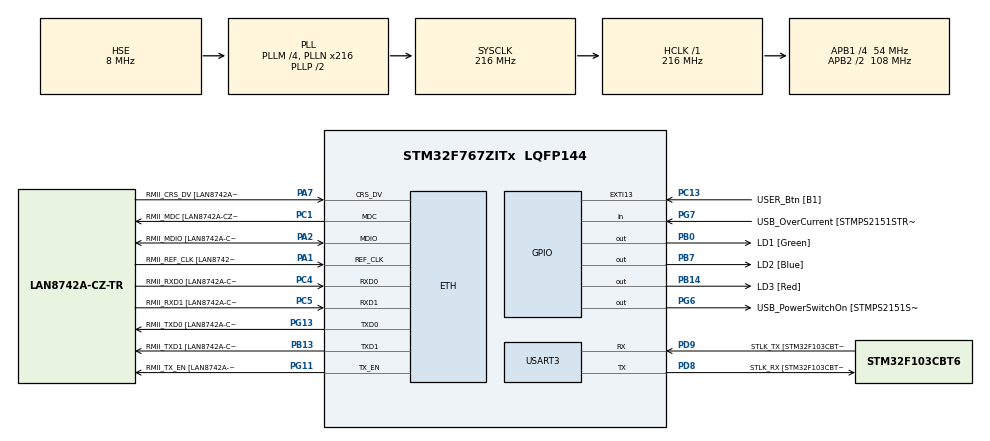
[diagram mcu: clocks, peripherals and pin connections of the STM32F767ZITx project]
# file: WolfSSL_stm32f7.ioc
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Mcu.Family=STM32F7
RCC.CortexFreq_Value=216000000
PG6.Signal=GPIO_Output
PB14.GPIO_Label=LD3 [Red]
PG6.GPIO_Label=USB_PowerSwitchOn [STMPS2151STR_EN]
PA14.GPIO_Label=TCK
RCC.SYSCLKSourceVirtual=RCC_SYSCLKSOURCE_PLLCLK
PB0.GPIO_Label=LD1 [Green]
PC14/OSC32_IN.Mode=LSE-External-Oscillator
PC5.Mode=RMII
PC13.GPIO_Label=USER_Btn [B1]
PB13.GPIO_Label=RMII_TXD1 [LAN8742A-CZ-TR_TXD1]
PB13.Signal=ETH_TXD1
PG13.Signal=ETH_TXD0
PD9.Mode=Asynchronous
PG11.Signal=ETH_TX_EN
RCC.SYSCLKSource=RCC_SYSCLKSOURCE_PLLCLK
ProjectManager.StackSize=0x1000
LWIP.NETMASK_ADDRESS=255.255.000.000
LWIP.LWIP_HTTPD=1
USART3.VirtualMode-Asynchronous=VM_ASYNC
PA12.Signal=USB_OTG_FS_DP
ETH.PHY_Value=0
PH0/OSC_IN.Mode=HSE-External-Oscillator
RCC.HCLKFreq_Value=216000000
RCC.APB2TimFreq_Value=216000000
PH1/OSC_OUT.Signal=RCC_OSC_OUT
PD8.Signal=USART3_TX
RCC.AHBFreq_Value=216000000
NVIC.ETH_IRQn=true\:5\:0\:false\:false\:true\:true\:false\:true
RCC.HSE_VALUE=8000000
wolfSSL.I-CUBE-wolfSSL.4.7.0.WOLF_CONF_RTOS=2
RCC.PLLMUL=RCC_PLL_MUL9
PC4.GPIO_Label=RMII_RXD0 [LAN8742A-CZ-TR_RXD0]
PA14.Mode=Serial_Wire
NVIC.TIM2_IRQn=true\:0\:0\:false\:false\:true\:false\:false\:true
PA10.GPIO_Label=USB_ID
wolfSSL.I-CUBE-wolfSSL.4.7.0.wolfSSLCcwolfSSLJjwolfCryptJjCore=true
PB7.Signal=GPIO_Output
PA8.Signal=USB_OTG_FS_SOF
PG13.Mode=RMII
ETH.PHY_Name=LAN8742A_PHY_ADDRESS
VP_FREERTOS_VS_CMSIS_V1.Mode=CMSIS_V1
PH1/OSC_OUT.Mode=HSE-External-Oscillator
PB7.GPIO_Label=LD2 [Blue]
VP_SYS_VS_tim2.Mode=TIM2
Mcu.Package=LQFP144
NVIC.TimeBase=TIM2_IRQn
PC14/OSC32_IN.Signal=RCC_OSC32_IN
PA2.GPIO_Label=RMII_MDIO [LAN8742A-CZ-TR_MDIO]
NVIC.TimeBaseIP=TIM2
PA10.Signal=USB_OTG_FS_ID
RCC.APB2CLKDivider=RCC_HCLK_DIV2
RCC.APB1TimFreq_Value=108000000
PG11.GPIO_Label=RMII_TX_EN [LAN8742A-CZ-TR_TXEN]
PC5.Signal=ETH_RXD1
PB13.Mode=RMII
VP_TIM3_VS_ClockSourceINT.Mode=Internal
PC4.Mode=RMII
LWIP.IP_ADDRESS=169.254.215.173
PB3.GPIO_Label=SWO
RCC.PLLSourceVirtual=RCC_PLLSOURCE_HSE
CORTEX_M7.CPU_ICache=Enabled
FREERTOS.Tasks01=defaultTask,0,128,StartDefaultTask,Default,NULL,Dynamic,NULL,NULL
PA7.Mode=RMII
PG7.Signal=GPIO_Input
PD9.GPIO_Label=STLK_TX [STM32F103CBT6_PA2]
wolfSSL.I-CUBE-wolfSSL.4.7.0.wolfSSLCcwolfSSLJjwolfSSLJjCore=true
wolfSSL.I-CUBE-wolfSSL.4.7.0.WOLF_CONF_MATH=4
PC13.Signal=GPXTI13
PA9.GPIO_Label=USB_VBUS
PC4.Signal=ETH_RXD0
ETH.MACAddr=00\:80\:E1\:00\:00\:32
PA11.GPIO_Label=USB_DM
PD9.Signal=USART3_RX
LWIP.LWIP_DHCP=0
VP_RNG_VS_RNG.Mode=RNG_Activate
RCC.APB1CLKDivider=RCC_HCLK_DIV4
PG13.GPIO_Label=RMII_TXD0 [LAN8742A-CZ-TR_TXD0]
ETH.PhyAddress=0
PA12.GPIO_Label=USB_DP
VP_LWIP_VS_Enabled.Mode=Enabled
PD8.GPIO_Label=STLK_RX [STM32F103CBT6_PA3]
PA13.Signal=SYS_JTMS-SWDIO
CORTEX_M7.MPU_Control=MPU_HFNMI_PRIVDEF
PA8.GPIO_Label=USB_SOF [TP1]
ProjectManager.TargetToolchain=TrueSTUDIO
PA9.Signal=USB_OTG_FS_VBUS
RCC.USBFreq_Value=48000000
PD8.Mode=Asynchronous
PA1.Signal=ETH_REF_CLK
PB14.Signal=GPIO_Output
board=NUCLEO-F767ZI
RCC.VCOOutputFreq_Value=432000000
NVIC.TIM3_IRQn=true\:5\:0\:false\:false\:true\:true\:true\:true
wolfSSL.I-CUBE-wolfSSL.4.7.0.wolfSSLCcwolfSSLJjwolfCryptJjTest=true
PH0/OSC_IN.Signal=RCC_OSC_IN
RCC.APB2Freq_Value=108000000
PA1.Mode=RMII
RCC.PRESCALERUSB=RCC_USBCLKSOURCE_PLL_DIV1_5
PG7.GPIO_Label=USB_OverCurrent [STMPS2151STR_FAULT]
PA1.GPIO_Label=RMII_REF_CLK [LAN8742A-CZ-TR_REFCLK0]
PC1.GPIO_Label=RMII_MDC [LAN8742A-CZ-TR_MDC]
PA13.Mode=Serial_Wire
Mcu.Name=STM32F767ZITx
PA2.Signal=ETH_MDIO
PA13.GPIO_Label=TMS
RCC.48MHZClocksFreq_Value=24000000
PB3.Signal=SYS_JTDO-SWO
RCC.SYSCLKFreq_VALUE=216000000
ETH.MediaInterface=ETH_MEDIA_INTERFACE_RMII
PA7.GPIO_Label=RMII_CRS_DV [LAN8742A-CZ-TR_CRS_DV]
PC5.GPIO_Label=RMII_RXD1 [LAN8742A-CZ-TR_RXD1]
PC15/OSC32_OUT.Mode=LSE-External-Oscillator
PG11.Mode=RMII
PA11.Signal=USB_OTG_FS_DM
PA14.Signal=SYS_JTCK-SWCLK
ProjectManager.HeapSize=0x800
LWIP.Version=v2.1.2_Cube
RCC.HSI_VALUE=16000000
PH0/OSC_IN.GPIO_Label=MCO [STM32F103CBT6_PA8]
RCC.PLLQ=9
NVIC.PriorityGroup=NVIC_PRIORITYGROUP_4
RCC.PLLM=4
RCC.PLLN=216
PA2.Mode=RMII
PC15/OSC32_OUT.Signal=RCC_OSC32_OUT
CORTEX_M7.CPU_DCache=Enabled
RCC.APB1Freq_Value=54000000
PB0.Signal=GPIO_Output
PC1.Signal=ETH_MDC
PC1.Mode=RMII
PA7.Signal=ETH_CRS_DV
VP_wolfSSL.I-CUBE-wolfSSL_VS_wolfSSLJjwolfSSL_4.7.0.Mode=wolfSSLJjwolfSSL

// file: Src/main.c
gg/* USER CODE BEGIN Header */
/**
  ******************************************************************************
  * @file           : main.c
  * @brief          : Main program body
  ******************************************************************************
  * @attention
  *
  * <h2><center>&copy; Copyright (c) 2021 STMicroelectronics.
  * All rights reserved.</center></h2>
  *
  * This software component is licensed by ST under Ultimate Liberty license
  * SLA0044, the "License"; You may not use this file except in compliance with
  * the License. You may obtain a copy of the License at:
  *                             www.st.com/SLA0044
  *
  ******************************************************************************
  */
/* USER CODE END Header */

#include "main.h"
#include "cmsis_os.h"
#include "lwip.h"

/* USER CODE BEGIN Includes */
#include "httpd.h"
#include "wolfmqtt/mqtt_client.h"

#include "examples/aws/awsiot.h"
/* USER CODE END Includes */

RNG_HandleTypeDef hrng;

TIM_HandleTypeDef htim3;

UART_HandleTypeDef huart3;

osThreadId defaultTaskHandle;

void SystemClock_Config(void);
static void MPU_Config(void);
static void MX_GPIO_Init(void);
static void MX_RNG_Init(void);
static void MX_USART3_UART_Init(void);
static void MX_TIM3_Init(void);
void StartDefaultTask(void const * argument);

/* USER CODE BEGIN PFP */
/* Retargets the C library printf function to the USART. */
#include <stdio.h>
#ifdef __GNUC__
int __io_putchar(int ch)
#else
int fputc(int ch, FILE *f)
#endif
{
    HAL_UART_Transmit(&huart3, (uint8_t *)&ch, 1, 0xFFFF);

    return ch;
}
#ifdef __GNUC__
int _write(int file,char *ptr, int len)
{
    int DataIdx;
    for (DataIdx= 0; DataIdx< len; DataIdx++) {
        __io_putchar(*ptr++);
    }
    return len;
}
#endif
/* USER CODE END PFP */

int main(void)
{

  /* MPU Configuration--------------------------------------------------------*/
  MPU_Config();

  /* Enable I-Cache---------------------------------------------------------*/
  SCB_EnableICache();

  /* Enable D-Cache---------------------------------------------------------*/
  SCB_EnableDCache();

  /* MCU Configuration--------------------------------------------------------*/

  /* Reset of all peripherals, Initializes the Flash interface and the Systick. */
  HAL_Init();

  /* Configure the system clock */
  SystemClock_Config();

  /* USER CODE BEGIN SysInit */
  setvbuf(stdin, NULL, _IONBF, 0);
   setvbuf(stdout, NULL, _IONBF, 0);
   setvbuf(stderr, NULL, _IONBF, 0);

  /* USER CODE END SysInit */

  /* Initialize all configured peripherals */
  MX_GPIO_Init();
  MX_RNG_Init();
  MX_USART3_UART_Init();
  MX_TIM3_Init();

  /* Create the thread(s) */
  /* definition and creation of defaultTask */
  osThreadDef(defaultTask, StartDefaultTask, osPriorityNormal, 0, 1024 * 5);
  defaultTaskHandle = osThreadCreate(osThread(defaultTask), NULL);

  /* Start scheduler */
  osKernelStart();

  /* We should never get here as control is now taken by the scheduler */
  /* Infinite loop */
  while (1)
  {

  }
}

void SystemClock_Config(void)
{
  RCC_OscInitTypeDef RCC_OscInitStruct = {0};
  RCC_ClkInitTypeDef RCC_ClkInitStruct = {0};
  RCC_PeriphCLKInitTypeDef PeriphClkInitStruct = {0};

  /** Configure LSE Drive Capability
  */
  HAL_PWR_EnableBkUpAccess();
  /** Configure the main internal regulator output voltage
  */
  __HAL_RCC_PWR_CLK_ENABLE();
  __HAL_PWR_VOLTAGESCALING_CONFIG(PWR_REGULATOR_VOLTAGE_SCALE1);
  /** Initializes the CPU, AHB and APB busses clocks
  */
  RCC_OscInitStruct.OscillatorType = RCC_OSCILLATORTYPE_HSE;
  RCC_OscInitStruct.HSEState = RCC_HSE_ON;
  RCC_OscInitStruct.PLL.PLLState = RCC_PLL_ON;
  RCC_OscInitStruct.PLL.PLLSource = RCC_PLLSOURCE_HSE;
  RCC_OscInitStruct.PLL.PLLM = 4;
  RCC_OscInitStruct.PLL.PLLN = 216;
  RCC_OscInitStruct.PLL.PLLP = RCC_PLLP_DIV2;
  RCC_OscInitStruct.PLL.PLLQ = 9;
  if (HAL_RCC_OscConfig(&RCC_OscInitStruct) != HAL_OK)
  {
    Error_Handler();
  }
  /** Activate the Over-Drive mode
  */
  if (HAL_PWREx_EnableOverDrive() != HAL_OK)
  {
    Error_Handler();
  }
  /** Initializes the CPU, AHB and APB busses clocks
  */
  RCC_ClkInitStruct.ClockType = RCC_CLOCKTYPE_HCLK|RCC_CLOCKTYPE_SYSCLK
                              |RCC_CLOCKTYPE_PCLK1|RCC_CLOCKTYPE_PCLK2;
  RCC_ClkInitStruct.SYSCLKSource = RCC_SYSCLKSOURCE_PLLCLK;
  RCC_ClkInitStruct.AHBCLKDivider = RCC_SYSCLK_DIV1;
  RCC_ClkInitStruct.APB1CLKDivider = RCC_HCLK_DIV4;
  RCC_ClkInitStruct.APB2CLKDivider = RCC_HCLK_DIV2;

  if (HAL_RCC_ClockConfig(&RCC_ClkInitStruct, FLASH_LATENCY_7) != HAL_OK)
  {
    Error_Handler();
  }
  PeriphClkInitStruct.PeriphClockSelection = RCC_PERIPHCLK_USART3|RCC_PERIPHCLK_CLK48;
  PeriphClkInitStruct.Usart3ClockSelection = RCC_USART3CLKSOURCE_PCLK1;
  PeriphClkInitStruct.Clk48ClockSelection = RCC_CLK48SOURCE_PLL;
  if (HAL_RCCEx_PeriphCLKConfig(&PeriphClkInitStruct) != HAL_OK)
  {
    Error_Handler();
  }
}

static void MX_RNG_Init(void)
{

  hrng.Instance = RNG;
  if (HAL_RNG_Init(&hrng) != HAL_OK)
  {
    Error_Handler();
  }

}

static void MX_TIM3_Init(void)
{

  TIM_ClockConfigTypeDef sClockSourceConfig = {0};
  TIM_MasterConfigTypeDef sMasterConfig = {0};

  htim3.Instance = TIM3;
  htim3.Init.Prescaler = 0;
  htim3.Init.CounterMode = TIM_COUNTERMODE_UP;
  htim3.Init.Period = 0;
  htim3.Init.ClockDivision = TIM_CLOCKDIVISION_DIV1;
  htim3.Init.AutoReloadPreload = TIM_AUTORELOAD_PRELOAD_DISABLE;
  if (HAL_TIM_Base_Init(&htim3) != HAL_OK)
  {
    Error_Handler();
  }
  sClockSourceConfig.ClockSource = TIM_CLOCKSOURCE_INTERNAL;
  if (HAL_TIM_ConfigClockSource(&htim3, &sClockSourceConfig) != HAL_OK)
  {
    Error_Handler();
  }
  sMasterConfig.MasterOutputTrigger = TIM_TRGO_RESET;
  sMasterConfig.MasterSlaveMode = TIM_MASTERSLAVEMODE_DISABLE;
  if (HAL_TIMEx_MasterConfigSynchronization(&htim3, &sMasterConfig) != HAL_OK)
  {
    Error_Handler();
  }

}

static void MX_USART3_UART_Init(void)
{

  huart3.Instance = USART3;
  huart3.Init.BaudRate = 115200;
  huart3.Init.WordLength = UART_WORDLENGTH_8B;
  huart3.Init.StopBits = UART_STOPBITS_1;
  huart3.Init.Parity = UART_PARITY_NONE;
  huart3.Init.Mode = UART_MODE_TX_RX;
  huart3.Init.HwFlowCtl = UART_HWCONTROL_NONE;
  huart3.Init.OverSampling = UART_OVERSAMPLING_16;
  huart3.Init.OneBitSampling = UART_ONE_BIT_SAMPLE_DISABLE;
  huart3.AdvancedInit.AdvFeatureInit = UART_ADVFEATURE_NO_INIT;
  if (HAL_UART_Init(&huart3) != HAL_OK)
  {
    Error_Handler();
  }

}

static void MX_GPIO_Init(void)
{
  GPIO_InitTypeDef GPIO_InitStruct = {0};

  /* GPIO Ports Clock Enable */
  __HAL_RCC_GPIOC_CLK_ENABLE();
  __HAL_RCC_GPIOH_CLK_ENABLE();
  __HAL_RCC_GPIOA_CLK_ENABLE();
  __HAL_RCC_GPIOB_CLK_ENABLE();
  __HAL_RCC_GPIOD_CLK_ENABLE();
  __HAL_RCC_GPIOG_CLK_ENABLE();

  /*Configure GPIO pin Output Level */
  HAL_GPIO_WritePin(GPIOB, LD1_Pin|LD3_Pin|LD2_Pin, GPIO_PIN_RESET);

  /*Configure GPIO pin Output Level */
  HAL_GPIO_WritePin(USB_PowerSwitchOn_GPIO_Port, USB_PowerSwitchOn_Pin, GPIO_PIN_RESET);

  /*Configure GPIO pin : USER_Btn_Pin */
  GPIO_InitStruct.Pin = USER_Btn_Pin;
  GPIO_InitStruct.Mode = GPIO_MODE_IT_RISING;
  GPIO_InitStruct.Pull = GPIO_NOPULL;
  HAL_GPIO_Init(USER_Btn_GPIO_Port, &GPIO_InitStruct);

  /*Configure GPIO pins : LD1_Pin LD3_Pin LD2_Pin */
  GPIO_InitStruct.Pin = LD1_Pin|LD3_Pin|LD2_Pin;
  GPIO_InitStruct.Mode = GPIO_MODE_OUTPUT_PP;
  GPIO_InitStruct.Pull = GPIO_NOPULL;
  GPIO_InitStruct.Speed = GPIO_SPEED_FREQ_LOW;
  HAL_GPIO_Init(GPIOB, &GPIO_InitStruct);

  /*Configure GPIO pin : USB_PowerSwitchOn_Pin */
  GPIO_InitStruct.Pin = USB_PowerSwitchOn_Pin;
  GPIO_InitStruct.Mode = GPIO_MODE_OUTPUT_PP;
  GPIO_InitStruct.Pull = GPIO_NOPULL;
  GPIO_InitStruct.Speed = GPIO_SPEED_FREQ_LOW;
  HAL_GPIO_Init(USB_PowerSwitchOn_GPIO_Port, &GPIO_InitStruct);

  /*Configure GPIO pin : USB_OverCurrent_Pin */
  GPIO_InitStruct.Pin = USB_OverCurrent_Pin;
  GPIO_InitStruct.Mode = GPIO_MODE_INPUT;
  GPIO_InitStruct.Pull = GPIO_NOPULL;
  HAL_GPIO_Init(USB_OverCurrent_GPIO_Port, &GPIO_InitStruct);

  /*Configure GPIO pins : USB_SOF_Pin USB_ID_Pin USB_DM_Pin USB_DP_Pin */
  GPIO_InitStruct.Pin = USB_SOF_Pin|USB_ID_Pin|USB_DM_Pin|USB_DP_Pin;
  GPIO_InitStruct.Mode = GPIO_MODE_AF_PP;
  GPIO_InitStruct.Pull = GPIO_NOPULL;
  GPIO_InitStruct.Speed = GPIO_SPEED_FREQ_VERY_HIGH;
  GPIO_InitStruct.Alternate = GPIO_AF10_OTG_FS;
  HAL_GPIO_Init(GPIOA, &GPIO_InitStruct);

  /*Configure GPIO pin : USB_VBUS_Pin */
  GPIO_InitStruct.Pin = USB_VBUS_Pin;
  GPIO_InitStruct.Mode = GPIO_MODE_INPUT;
  GPIO_InitStruct.Pull = GPIO_NOPULL;
  HAL_GPIO_Init(USB_VBUS_GPIO_Port, &GPIO_InitStruct);

}

void StartDefaultTask(void const * argument)
{
  /* init code for LWIP */
  MX_LWIP_Init();
  /* USER CODE BEGIN 5 */
 // httpd_init();
  MQTTCtx mqttCtx;
  char pubMsg[AWSIOT_PUBLISH_MSG_SZ] = {0};
  sprintf(pubMsg,"Hello from Wolfssl firmware");
  mqtt_init_ctx(&mqttCtx);
  mqttCtx.app_name = "awsiot";
  mqttCtx.host = AWSIOT_HOST;
  mqttCtx.qos = AWSIOT_QOS;
  mqttCtx.keep_alive_sec = AWSIOT_KEEP_ALIVE_SEC;
  mqttCtx.client_id = AWSIOT_DEVICE_ID;
  mqttCtx.topic_name = AWSIOT_SUBSCRIBE_TOPIC;
  mqttCtx.cmd_timeout_ms = AWSIOT_CMD_TIMEOUT_MS;

  mqttCtx.use_tls = 1;
  mqttCtx.app_ctx = pubMsg;
  int rc;
  int argc;
  char **argv;
  /* Infinite loop */
  rc = mqtt_parse_args(&mqttCtx, argc, argv);
   if (rc != 0) {
       printf("error:%d \n\r" ,rc);
   }
   do {
       rc = awsiot_test(&mqttCtx);
   } while (rc == MQTT_CODE_CONTINUE);
   mqtt_free_ctx(&mqttCtx);

  for(;;)
  {

  }
  /* USER CODE END 5 */
}

/* MPU Configuration */

void MPU_Config(void)
{

  /* Disables the MPU */
	/* Disables the MPU */
		  MPU_Region_InitTypeDef MPU_InitStruct;

		  /* Disable the MPU */
		  HAL_MPU_Disable();

		  /* Configure the MPU as Normal Non Cacheable for Ethernet Buffers in the SRAM2 */
		  MPU_InitStruct.Enable = MPU_REGION_ENABLE;
		  MPU_InitStruct.BaseAddress = 0x2007C000;
		  MPU_InitStruct.Size = MPU_REGION_SIZE_16KB;
		  MPU_InitStruct.AccessPermission = MPU_REGION_FULL_ACCESS;
		  MPU_InitStruct.IsBufferable = MPU_ACCESS_NOT_BUFFERABLE;
		  MPU_InitStruct.IsCacheable = MPU_ACCESS_NOT_CACHEABLE;
		  MPU_InitStruct.IsShareable = MPU_ACCESS_SHAREABLE;
		  MPU_InitStruct.Number = MPU_REGION_NUMBER0;
		  MPU_InitStruct.TypeExtField = MPU_TEX_LEVEL1;
		  MPU_InitStruct.SubRegionDisable = 0x00;
		  MPU_InitStruct.DisableExec = MPU_INSTRUCTION_ACCESS_ENABLE;

		  HAL_MPU_ConfigRegion(&MPU_InitStruct);

		  /* Configure the MPU as Device for Ethernet Descriptors in the SRAM2 */
		  MPU_InitStruct.Enable = MPU_REGION_ENABLE;
		  MPU_InitStruct.BaseAddress = 0x2007C000;
		  MPU_InitStruct.Size = MPU_REGION_SIZE_256B;
		  MPU_InitStruct.AccessPermission = MPU_REGION_FULL_ACCESS;
		  MPU_InitStruct.IsBufferable = MPU_ACCESS_BUFFERABLE;
		  MPU_InitStruct.IsCacheable = MPU_ACCESS_NOT_CACHEABLE;
		  MPU_InitStruct.IsShareable = MPU_ACCESS_SHAREABLE;
		  MPU_InitStruct.Number = MPU_REGION_NUMBER1;
		  MPU_InitStruct.TypeExtField = MPU_TEX_LEVEL0;
		  MPU_InitStruct.SubRegionDisable = 0x00;
		  MPU_InitStruct.DisableExec = MPU_INSTRUCTION_ACCESS_ENABLE;

		  HAL_MPU_ConfigRegion(&MPU_InitStruct);

		  /* Enable the MPU */
		  HAL_MPU_Enable(MPU_PRIVILEGED_DEFAULT);

}
void HAL_TIM_PeriodElapsedCallback(TIM_HandleTypeDef *htim)
{
  if (htim->Instance == TIM2) {
    HAL_IncTick();
  }
}

void Error_Handler(void)
{
}

/************************ (C) COPYRIGHT STMicroelectronics *****END OF FILE****/
